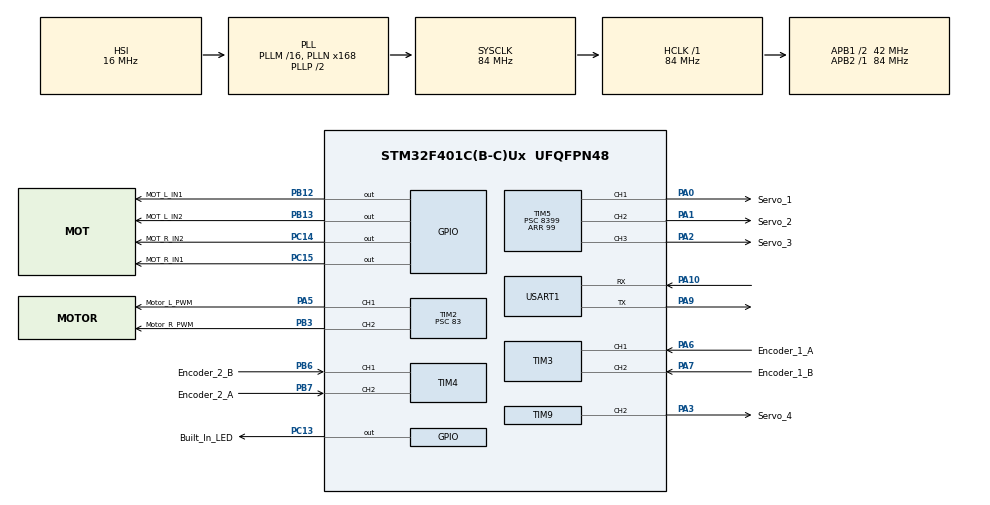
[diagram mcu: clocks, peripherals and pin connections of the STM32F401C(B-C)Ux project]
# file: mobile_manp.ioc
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Mcu.Family=STM32F4
Mcu.Name=STM32F401C(B-C)Ux
Mcu.Package=UFQFPN48
NVIC.PriorityGroup=NVIC_PRIORITYGROUP_4
NVIC.TIM1_UP_TIM10_IRQn=true\:0\:0\:false\:false\:true\:true\:true\:true
NVIC.TIM5_IRQn=true\:0\:0\:false\:false\:true\:true\:true\:true
NVIC.USART1_IRQn=true\:0\:0\:false\:false\:true\:true\:true\:true
PA0-WKUP.GPIO_Label=Servo_1
PA0-WKUP.Signal=S_TIM5_CH1
PA1.GPIO_Label=Servo_2
PA1.Signal=S_TIM5_CH2
PA10.Mode=Asynchronous
PA10.Signal=USART1_RX
PA13.Mode=Serial_Wire
PA13.Signal=SYS_JTMS-SWDIO
PA14.Mode=Serial_Wire
PA14.Signal=SYS_JTCK-SWCLK
PA2.GPIO_Label=Servo_3
PA2.Signal=S_TIM5_CH3
PA3.GPIO_Label=Servo_4
PA3.Signal=S_TIM9_CH2
PA5.GPIO_Label=Motor_L_PWM
PA5.Signal=S_TIM2_CH1_ETR
PA6.GPIO_Label=Encoder_1_A
PA6.Signal=S_TIM3_CH1
PA7.GPIO_Label=Encoder_1_B
PA7.Signal=S_TIM3_CH2
PA9.Mode=Asynchronous
PA9.Signal=USART1_TX
PB12.GPIO_Label=MOT_L_IN1
PB12.Signal=GPIO_Output
PB13.GPIO_Label=MOT_L_IN2
PB13.Signal=GPIO_Output
PB3.GPIO_Label=Motor_R_PWM
PB3.Signal=S_TIM2_CH2
PB6.GPIO_Label=Encoder_2_B
PB6.Signal=S_TIM4_CH1
PB7.GPIO_Label=Encoder_2_A
PB7.Signal=S_TIM4_CH2
PC13-ANTI_TAMP.GPIO_Label=Built_In_LED
PC13-ANTI_TAMP.Signal=GPIO_Output
PC14-OSC32_IN.GPIO_Label=MOT_R_IN2
PC14-OSC32_IN.Signal=GPIO_Output
PC15-OSC32_OUT.GPIO_Label=MOT_R_IN1
PC15-OSC32_OUT.Signal=GPIO_Output
PH0\ -\ OSC_IN.Mode=HSE-External-Oscillator
PH0\ -\ OSC_IN.Signal=RCC_OSC_IN
PH1\ -\ OSC_OUT.Mode=HSE-External-Oscillator
PH1\ -\ OSC_OUT.Signal=RCC_OSC_OUT
ProjectManager.HeapSize=0x200
ProjectManager.StackSize=0x400
ProjectManager.TargetToolchain=STM32CubeIDE
RCC.48MHZClocksFreq_Value=42000000
RCC.AHBFreq_Value=84000000
RCC.APB1CLKDivider=RCC_HCLK_DIV2
RCC.APB1Freq_Value=42000000
RCC.APB1TimFreq_Value=84000000
RCC.APB2Freq_Value=84000000
RCC.APB2TimFreq_Value=84000000
RCC.CortexFreq_Value=84000000
RCC.HCLKFreq_Value=84000000
RCC.HSE_VALUE=16000000
RCC.HSI_VALUE=16000000
RCC.LSE_VALUE=32768
RCC.PLLN=168
RCC.SYSCLKFreq_VALUE=84000000
RCC.SYSCLKSource=RCC_SYSCLKSOURCE_PLLCLK
RCC.VCOOutputFreq_Value=168000000
SH.S_TIM2_CH1_ETR.0=TIM2_CH1,PWM Generation1 CH1
SH.S_TIM2_CH2.0=TIM2_CH2,PWM Generation2 CH2
SH.S_TIM3_CH1.0=TIM3_CH1,Encoder_Interface
SH.S_TIM3_CH2.0=TIM3_CH2,Encoder_Interface
SH.S_TIM4_CH1.0=TIM4_CH1,Encoder_Interface
SH.S_TIM4_CH2.0=TIM4_CH2,Encoder_Interface
SH.S_TIM5_CH1.0=TIM5_CH1,PWM Generation1 CH1
SH.S_TIM5_CH2.0=TIM5_CH2,PWM Generation2 CH2
SH.S_TIM5_CH3.0=TIM5_CH3,PWM Generation3 CH3
SH.S_TIM9_CH2.0=TIM9_CH2,PWM Generation2 CH2
TIM1.Period=999
TIM1.Prescaler=8399
TIM2.Channel-PWM\ Generation1\ CH1=TIM_CHANNEL_1
TIM2.Channel-PWM\ Generation2\ CH2=TIM_CHANNEL_2
TIM2.Period=999
TIM2.Prescaler=83
TIM3.EncoderMode=TIM_ENCODERMODE_TI12
TIM4.EncoderMode=TIM_ENCODERMODE_TI12
TIM5.Channel-Output\ Compare4\ No\ Output=TIM_CHANNEL_4
TIM5.Channel-PWM\ Generation1\ CH1=TIM_CHANNEL_1
TIM5.Channel-PWM\ Generation2\ CH2=TIM_CHANNEL_2
TIM5.Channel-PWM\ Generation3\ CH3=TIM_CHANNEL_3
TIM5.Period=99
TIM5.Prescaler=8399
TIM9.Channel-PWM\ Generation2\ CH2=TIM_CHANNEL_2
USART1.VirtualMode=VM_ASYNC
VP_TIM1_VS_ClockSourceINT.Mode=Internal
VP_TIM2_VS_ClockSourceINT.Mode=Internal
VP_TIM5_VS_ClockSourceINT.Mode=Internal
VP_TIM5_VS_no_output4.Mode=Output Compare4 No Output
board=custom

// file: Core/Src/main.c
/* USER CODE BEGIN Header */
/**
  ******************************************************************************
  * @file           : main.c
  * @brief          : Mobile Robot + 3DOF Arm — Ball Pickup
  * Pi sends: N=searching forward, L=rotate left, R=rotate right, S=stop+grab
  ******************************************************************************
  */
/* USER CODE END Header */

#include "main.h"

/* USER CODE BEGIN Includes */
#include <math.h>
#include <string.h>
#include <stdio.h>
/* USER CODE END Includes */

/* USER CODE BEGIN PTD */

typedef struct {
    float kp;
    float ki;
    float kd;
    float prev_error;
    float integral;
    float output_limit;
} PID_Controller;

typedef struct {
    float theta_1d;
    float theta_2d;
    float theta_3d;
} Angles;

typedef enum {
    ARM_IDLE = 0,
    ARM_SETTLE,
    ARM_GO_HOME,
    ARM_MOVE_TO_BALL,
    ARM_CLOSE_GRIPPER,
    ARM_LIFT_UP,
    ARM_DONE
} ArmState_t;

typedef enum {
    ROBOT_SEARCHING = 0,   /* N — drive forward looking */
    ROBOT_ROTATE_LEFT,     /* L — rotate left to center */
    ROBOT_ROTATE_RIGHT,    /* R — rotate right to center */
    ROBOT_GRABBING,        /* S — stopped, arm working  */
    ROBOT_HOLDING          /* arm done, drive forward holding ball */
} RobotState_t;

/* USER CODE END PTD */

/* USER CODE BEGIN PD */

#define PPR          11880.0f
#define SAMPLE_MS    100.0f
#define FF_GAIN      27.0f

#define SERVO_MIN_PULSE  500
#define SERVO_MAX_PULSE  2500

#define FORWARD_RPM   20.0f
#define ROTATE_RPM    15.0f

/* USER CODE END PD */

/* USER CODE BEGIN PM */

#define servo1_write(a) __HAL_TIM_SET_COMPARE(&htim5, TIM_CHANNEL_1, angle_to_ccr(a))
#define servo2_write(a) __HAL_TIM_SET_COMPARE(&htim5, TIM_CHANNEL_2, angle_to_ccr(a))
#define servo3_write(a) __HAL_TIM_SET_COMPARE(&htim5, TIM_CHANNEL_3, angle_to_ccr(a))
#define servo4_write(a) __HAL_TIM_SET_COMPARE(&htim9, TIM_CHANNEL_2, angle_to_ccr(a))

/* USER CODE END PM */

TIM_HandleTypeDef htim1;
TIM_HandleTypeDef htim2;
TIM_HandleTypeDef htim3;
TIM_HandleTypeDef htim4;
TIM_HandleTypeDef htim5;
TIM_HandleTypeDef htim9;

UART_HandleTypeDef huart1;

/* USER CODE BEGIN PV */

/* UART */
uint8_t  rx_byte;
volatile uint8_t current_command = 'N';

/* Encoder / motor */
volatile float motorR_rpm = 0.0f;
volatile float motorL_rpm = 0.0f;
volatile float target_rpm_right = 0.0f;
volatile float target_rpm_left  = 0.0f;

PID_Controller pid_left;
PID_Controller pid_right;

/* State machines */
volatile RobotState_t robot_state = ROBOT_SEARCHING;
ArmState_t arm_state = ARM_IDLE;
uint32_t   arm_timer = 0;
Angles     arm_angles;

/* USER CODE END PV */

void SystemClock_Config(void);
static void MX_GPIO_Init(void);
static void MX_TIM1_Init(void);
static void MX_TIM2_Init(void);
static void MX_TIM3_Init(void);
static void MX_TIM4_Init(void);
static void MX_TIM5_Init(void);
static void MX_TIM9_Init(void);
static void MX_USART1_UART_Init(void);

/* USER CODE BEGIN 0 */

/* ── Servo helpers ──────────────────────────────────────────────────────── */
static uint32_t angle_to_ccr(float angle)
{
    if (angle < 0.0f)   angle = 0.0f;
    if (angle > 180.0f) angle = 180.0f;
    return (uint32_t)(SERVO_MIN_PULSE +
           (angle / 180.0f) * (SERVO_MAX_PULSE - SERVO_MIN_PULSE));
}

static void TIM5_Reconfigure_For_Servo(void)
{
    HAL_TIM_PWM_Stop(&htim5, TIM_CHANNEL_1);
    HAL_TIM_PWM_Stop(&htim5, TIM_CHANNEL_2);
    HAL_TIM_PWM_Stop(&htim5, TIM_CHANNEL_3);
    __HAL_TIM_SET_PRESCALER(&htim5, 83);
    __HAL_TIM_SET_AUTORELOAD(&htim5, 19999);
    HAL_TIM_GenerateEvent(&htim5, TIM_EVENTSOURCE_UPDATE);
    HAL_TIM_PWM_Start(&htim5, TIM_CHANNEL_1);
    HAL_TIM_PWM_Start(&htim5, TIM_CHANNEL_2);
    HAL_TIM_PWM_Start(&htim5, TIM_CHANNEL_3);
}

static void TIM5_Restore_For_PID(void)
{
    HAL_TIM_PWM_Stop(&htim5, TIM_CHANNEL_1);
    HAL_TIM_PWM_Stop(&htim5, TIM_CHANNEL_2);
    HAL_TIM_PWM_Stop(&htim5, TIM_CHANNEL_3);
    __HAL_TIM_SET_PRESCALER(&htim5, 8399);
    __HAL_TIM_SET_AUTORELOAD(&htim5, 99);
    HAL_TIM_GenerateEvent(&htim5, TIM_EVENTSOURCE_UPDATE);
}

static void TIM9_Reconfigure_For_Servo(void)
{
    HAL_TIM_PWM_Stop(&htim9, TIM_CHANNEL_2);
    __HAL_TIM_SET_PRESCALER(&htim9, 83);
    __HAL_TIM_SET_AUTORELOAD(&htim9, 19999);
    HAL_TIM_GenerateEvent(&htim9, TIM_EVENTSOURCE_UPDATE);
    HAL_TIM_PWM_Start(&htim9, TIM_CHANNEL_2);
}

/* ── PID ────────────────────────────────────────────────────────────────── */
float Compute_PID(PID_Controller *pid, float target, float actual)
{
    float error   = target - actual;
    float p_term  = pid->kp * error;
    float ff_term = target * FF_GAIN;

    pid->integral += error * 0.1f;
    if (pid->integral >  pid->output_limit) pid->integral =  pid->output_limit;
    if (pid->integral < -pid->output_limit) pid->integral = -pid->output_limit;
    float i_term = pid->ki * pid->integral;

    float d_term = pid->kd * ((error - pid->prev_error) / 0.1f);
    pid->prev_error = error;

    float output = ff_term + p_term + i_term + d_term;
    if (output >  pid->output_limit) output =  pid->output_limit;
    if (output < -pid->output_limit) output = -pid->output_limit;
    return output;
}

/* ── Motor drive ────────────────────────────────────────────────────────── */
void Set_Motor_Right(float pwm_val)
{
    if (pwm_val >= 0.0f) {
        HAL_GPIO_WritePin(MOT_R_IN1_GPIO_Port, MOT_R_IN1_Pin, GPIO_PIN_RESET);
        HAL_GPIO_WritePin(MOT_R_IN2_GPIO_Port, MOT_R_IN2_Pin, GPIO_PIN_SET);
    } else {
        HAL_GPIO_WritePin(MOT_R_IN1_GPIO_Port, MOT_R_IN1_Pin, GPIO_PIN_SET);
        HAL_GPIO_WritePin(MOT_R_IN2_GPIO_Port, MOT_R_IN2_Pin, GPIO_PIN_RESET);
        pwm_val = -pwm_val;
    }
    if (pwm_val > 999.0f) pwm_val = 999.0f;
    __HAL_TIM_SET_COMPARE(&htim2, TIM_CHANNEL_1, (uint32_t)pwm_val);
}

void Set_Motor_Left(float pwm_val)
{
    if (pwm_val >= 0.0f) {
        HAL_GPIO_WritePin(MOT_L_IN1_GPIO_Port, MOT_L_IN1_Pin, GPIO_PIN_SET);
        HAL_GPIO_WritePin(MOT_L_IN2_GPIO_Port, MOT_L_IN2_Pin, GPIO_PIN_RESET);
    } else {
        HAL_GPIO_WritePin(MOT_L_IN1_GPIO_Port, MOT_L_IN1_Pin, GPIO_PIN_RESET);
        HAL_GPIO_WritePin(MOT_L_IN2_GPIO_Port, MOT_L_IN2_Pin, GPIO_PIN_SET);
        pwm_val = -pwm_val;
    }
    if (pwm_val > 999.0f) pwm_val = 999.0f;
    __HAL_TIM_SET_COMPARE(&htim2, TIM_CHANNEL_2, (uint32_t)pwm_val);
}

/* ── Inverse kinematics ─────────────────────────────────────────────────── */
static float constrain_f(float val, float mn, float mx)
{
    if (val < mn) return mn;
    if (val > mx) return mx;
    return val;
}

Angles inverse_kinematics(float xd, float yd, float zd)
{
    const float L1 = 4.349f;
    const float L2 = 16.3104f;
    const float L3 = 20.0f;
    Angles result;

    result.theta_1d = (atan2f(yd, xd) * 180.0f / (float)M_PI) - 25.0f;
    result.theta_1d = constrain_f(result.theta_1d, 0.0f, 180.0f);

    float r = sqrtf(xd * xd + yd * yd);
    float k = sqrtf(r * r + powf((zd - L1), 2.0f));
    float D = (L2 * L2 + L3 * L3 - k * k) / (2.0f * L2 * L3);
    D = constrain_f(D, -1.0f, 1.0f);

    float theta   = acosf(D);
    float theta_3 = 180.0f - (theta * 180.0f / (float)M_PI);
    result.theta_3d = theta_3 + 42.0f;
    if (result.theta_3d > 180.0f)
        result.theta_3d = -result.theta_3d + 360.0f;
    else if (result.theta_3d < 0.0f && result.theta_3d > -180.0f)
        result.theta_3d = -result.theta_3d;

    float beta  = atan2f((zd - L1), r);
    float alpha = atan2f((L3 * sinf(theta)), (k + L3 * cosf(theta)));
    result.theta_2d = (beta + alpha) * 180.0f / (float)M_PI;
    if (result.theta_2d > 180.0f)
        result.theta_2d = -result.theta_2d + 360.0f;
    else if (result.theta_2d < 0.0f && result.theta_2d > -180.0f)
        result.theta_2d = -result.theta_2d;

    return result;
}

/* ── UART debug echo — STM32 echoes received byte back to Pi ────────────── */
static void uart_debug(const char *msg)
{
    HAL_UART_Transmit(&huart1, (uint8_t *)msg, strlen(msg), HAL_MAX_DELAY);
}

/* USER CODE END 0 */

/* ══════════════════════════════════════════════════════════════════════════
 * MAIN
 * ══════════════════════════════════════════════════════════════════════════ */
int main(void)
{
    /* USER CODE BEGIN 1 */
    pid_left.kp  = 5.0f;  pid_left.ki  = 0.5f;  pid_left.kd  = 0.0f;
    pid_left.prev_error = 0.0f; pid_left.integral = 0.0f;
    pid_left.output_limit = 999.0f;

    pid_right.kp = 5.0f;  pid_right.ki = 0.5f;  pid_right.kd = 0.0f;
    pid_right.prev_error = 0.0f; pid_right.integral = 0.0f;
    pid_right.output_limit = 999.0f;
    /* USER CODE END 1 */

    HAL_Init();
    SystemClock_Config();

    MX_GPIO_Init();
    MX_TIM1_Init();
    MX_TIM2_Init();
    MX_TIM3_Init();
    MX_TIM4_Init();
    MX_TIM5_Init();
    MX_TIM9_Init();
    MX_USART1_UART_Init();

    /* USER CODE BEGIN 2 */

    /* Start motor PWM */
    HAL_TIM_PWM_Start(&htim2, TIM_CHANNEL_1);
    HAL_TIM_PWM_Start(&htim2, TIM_CHANNEL_2);

    /* Start encoders */
    HAL_TIM_Encoder_Start(&htim3, TIM_CHANNEL_ALL);
    HAL_TIM_Encoder_Start(&htim4, TIM_CHANNEL_ALL);

    /* Start PID timer interrupt */
    __HAL_TIM_CLEAR_IT(&htim1, TIM_IT_UPDATE);
    HAL_TIM_Base_Start_IT(&htim1);

    /* Start UART receive interrupt */
    HAL_NVIC_SetPriority(USART1_IRQn, 0, 0);
    HAL_NVIC_EnableIRQ(USART1_IRQn);
    HAL_UART_Receive_IT(&huart1, &rx_byte, 1);

    /* Arm boot — go to home position */
    TIM5_Reconfigure_For_Servo();
    TIM9_Reconfigure_For_Servo();
    servo4_write(180);   /* gripper open */
    HAL_Delay(300);
    servo1_write(0);
    servo2_write(90);
    servo3_write(100);
    HAL_Delay(2000);
    TIM5_Restore_For_PID();

    uart_debug("STM32 READY\r\n");

    /* USER CODE END 2 */

    while (1)
    {
        /* USER CODE BEGIN 3 */

        /* ── STEP 1: translate Pi command → robot state ─────────────────── */
        switch (current_command)
        {
            case 'N': case 'n':
                if (robot_state != ROBOT_GRABBING && robot_state != ROBOT_HOLDING)
                    robot_state = ROBOT_SEARCHING;
                break;

            case 'L': case 'l':
                if (robot_state != ROBOT_GRABBING && robot_state != ROBOT_HOLDING)
                    robot_state = ROBOT_ROTATE_LEFT;
                break;

            case 'R': case 'r':
                if (robot_state != ROBOT_GRABBING && robot_state != ROBOT_HOLDING)
                    robot_state = ROBOT_ROTATE_RIGHT;
                break;

            case 'S': case 's':
                if (robot_state != ROBOT_GRABBING && robot_state != ROBOT_HOLDING)
                {
                    robot_state = ROBOT_GRABBING;
                    arm_state   = ARM_SETTLE;
                    arm_timer   = HAL_GetTick();
                    uart_debug("CMD:GRAB\r\n");
                }
                break;

            default:
                break;
        }

        /* ── STEP 2: set motor targets based on robot state ─────────────── */
        switch (robot_state)
        {
            case ROBOT_SEARCHING:
                target_rpm_right = FORWARD_RPM;
                target_rpm_left  = FORWARD_RPM;
                break;

            case ROBOT_ROTATE_LEFT:
                target_rpm_right =  ROTATE_RPM;
                target_rpm_left  = -ROTATE_RPM;
                break;

            case ROBOT_ROTATE_RIGHT:
                target_rpm_right = -ROTATE_RPM;
                target_rpm_left  =  ROTATE_RPM;
                break;

            case ROBOT_GRABBING:
                /* motors fully stopped while arm works */
                target_rpm_right = 0.0f;
                target_rpm_left  = 0.0f;
                break;

            case ROBOT_HOLDING:
                /* ball grabbed — drive forward holding it */
                target_rpm_right = FORWARD_RPM;
                target_rpm_left  = FORWARD_RPM;
                break;
        }

        /* ── STEP 3: arm state machine (non-blocking) ───────────────────── */
        switch (arm_state)
        {
            case ARM_IDLE:
                break;

            case ARM_SETTLE:
                /* wait 500ms for motors to fully stop */
                if (HAL_GetTick() - arm_timer >= 500)
                {
                    TIM5_Reconfigure_For_Servo();
                    TIM9_Reconfigure_For_Servo();
                    arm_angles = inverse_kinematics(0.0f, 23.0f, 7.2f);
                    servo4_write(180);  /* make sure gripper is open */
                    uart_debug("ARM:SETTLE\r\n");
                    arm_state = ARM_GO_HOME;
                    arm_timer = HAL_GetTick();
                }
                break;

            case ARM_GO_HOME:
                /* go to home position first */
                if (HAL_GetTick() - arm_timer >= 500)
                {
                    servo1_write(0);
                    servo2_write(90);
                    servo3_write(100);
                    uart_debug("ARM:HOME\r\n");
                    arm_state = ARM_MOVE_TO_BALL;
                    arm_timer = HAL_GetTick();
                }
                break;

            case ARM_MOVE_TO_BALL:
                /* move arm to IK target position */
                if (HAL_GetTick() - arm_timer >= 2000)
                {
                    servo1_write(arm_angles.theta_1d);
                    servo2_write(arm_angles.theta_2d);
                    servo3_write(arm_angles.theta_3d);
                    uart_debug("ARM:MOVING\r\n");
                    arm_state = ARM_CLOSE_GRIPPER;
                    arm_timer = HAL_GetTick();
                }
                break;

            case ARM_CLOSE_GRIPPER:
                /* close gripper to grab ball */
                if (HAL_GetTick() - arm_timer >= 2000)
                {
                    servo4_write(0);
                    uart_debug("ARM:GRIP\r\n");
                    arm_state = ARM_LIFT_UP;
                    arm_timer = HAL_GetTick();
                }
                break;

            case ARM_LIFT_UP:
                /* lift arm back to carrying position */
                if (HAL_GetTick() - arm_timer >= 1500)
                {
                    servo1_write(0);
                    servo2_write(90);
                    servo3_write(100);
                    uart_debug("ARM:LIFTED\r\n");
                    arm_state = ARM_DONE;
                    arm_timer = HAL_GetTick();
                }
                break;

            case ARM_DONE:
                /* restore TIM5 for PID, robot continues moving */
                if (HAL_GetTick() - arm_timer >= 1000)
                {
                    TIM5_Restore_For_PID();
                    robot_state = ROBOT_HOLDING;
                    arm_state   = ARM_IDLE;
                    uart_debug("ARM:DONE\r\n");
                }
                break;
        }

        HAL_Delay(10);
    }
    /* USER CODE END 3 */
}

/* ══════════════════════════════════════════════════════════════════════════
 * TIMER INTERRUPT — runs every 100ms for PID
 * ══════════════════════════════════════════════════════════════════════════ */
void HAL_TIM_PeriodElapsedCallback(TIM_HandleTypeDef *htim)
{
    if (htim->Instance == TIM1)
    {
        int16_t raw_enc_r = (int16_t)__HAL_TIM_GET_COUNTER(&htim3);
        int16_t raw_enc_l = (int16_t)__HAL_TIM_GET_COUNTER(&htim4);
        __HAL_TIM_SET_COUNTER(&htim3, 0);
        __HAL_TIM_SET_COUNTER(&htim4, 0);

        motorR_rpm = ((float)raw_enc_r / PPR) * (6000.0f / SAMPLE_MS);
        motorL_rpm = ((float)raw_enc_l / PPR) * (6000.0f / SAMPLE_MS);

        float pwm_r = Compute_PID(&pid_right, target_rpm_right, motorR_rpm);
        float pwm_l = Compute_PID(&pid_left,  target_rpm_left,  motorL_rpm);

        Set_Motor_Right(pwm_r);
        Set_Motor_Left(pwm_l);
    }
}

/* ══════════════════════════════════════════════════════════════════════════
 * UART INTERRUPT — receives one byte at a time from Pi
 * ══════════════════════════════════════════════════════════════════════════ */
void HAL_UART_RxCpltCallback(UART_HandleTypeDef *huart)
{
    if (huart->Instance == USART1)
    {
        /* ignore whitespace/newlines */
        if (rx_byte != '\n' && rx_byte != '\r' && rx_byte != ' ')
        {
            current_command = rx_byte;

            /* echo back to Pi so you can confirm reception via cat /dev/serial0 */
            HAL_UART_Transmit(&huart1, &rx_byte, 1, 100);
        }
        huart->RxState = HAL_UART_STATE_READY;
        huart->gState  = HAL_UART_STATE_READY;
        HAL_UART_Receive_IT(&huart1, &rx_byte, 1);
    }
}

void HAL_UART_ErrorCallback(UART_HandleTypeDef *huart)
{
    if (huart->Instance == USART1)
    {
        huart->RxState = HAL_UART_STATE_READY;
        huart->gState  = HAL_UART_STATE_READY;
        HAL_UART_Receive_IT(&huart1, &rx_byte, 1);
    }
}

/* ══════════════════════════════════════════════════════════════════════════
 * PERIPHERAL INIT FUNCTIONS — copied exactly from your working CubeMX file
 * ══════════════════════════════════════════════════════════════════════════ */
void SystemClock_Config(void)
{
    RCC_OscInitTypeDef RCC_OscInitStruct = {0};
    RCC_ClkInitTypeDef RCC_ClkInitStruct = {0};

    __HAL_RCC_PWR_CLK_ENABLE();
    __HAL_PWR_VOLTAGESCALING_CONFIG(PWR_REGULATOR_VOLTAGE_SCALE2);

    RCC_OscInitStruct.OscillatorType      = RCC_OSCILLATORTYPE_HSI;
    RCC_OscInitStruct.HSIState            = RCC_HSI_ON;
    RCC_OscInitStruct.HSICalibrationValue = RCC_HSICALIBRATION_DEFAULT;
    RCC_OscInitStruct.PLL.PLLState        = RCC_PLL_ON;
    RCC_OscInitStruct.PLL.PLLSource       = RCC_PLLSOURCE_HSI;
    RCC_OscInitStruct.PLL.PLLM            = 16;
    RCC_OscInitStruct.PLL.PLLN            = 168;
    RCC_OscInitStruct.PLL.PLLP            = RCC_PLLP_DIV2;
    RCC_OscInitStruct.PLL.PLLQ            = 4;
    if (HAL_RCC_OscConfig(&RCC_OscInitStruct) != HAL_OK) Error_Handler();

    RCC_ClkInitStruct.ClockType      = RCC_CLOCKTYPE_HCLK | RCC_CLOCKTYPE_SYSCLK
                                     | RCC_CLOCKTYPE_PCLK1 | RCC_CLOCKTYPE_PCLK2;
    RCC_ClkInitStruct.SYSCLKSource   = RCC_SYSCLKSOURCE_PLLCLK;
    RCC_ClkInitStruct.AHBCLKDivider  = RCC_SYSCLK_DIV1;
    RCC_ClkInitStruct.APB1CLKDivider = RCC_HCLK_DIV2;
    RCC_ClkInitStruct.APB2CLKDivider = RCC_HCLK_DIV1;
    if (HAL_RCC_ClockConfig(&RCC_ClkInitStruct, FLASH_LATENCY_2) != HAL_OK) Error_Handler();
}

static void MX_TIM1_Init(void)
{
    TIM_ClockConfigTypeDef  sClockSourceConfig = {0};
    TIM_MasterConfigTypeDef sMasterConfig      = {0};

    htim1.Instance               = TIM1;
    htim1.Init.Prescaler         = 8399;
    htim1.Init.CounterMode       = TIM_COUNTERMODE_UP;
    htim1.Init.Period            = 999;
    htim1.Init.ClockDivision     = TIM_CLOCKDIVISION_DIV1;
    htim1.Init.RepetitionCounter = 0;
    htim1.Init.AutoReloadPreload = TIM_AUTORELOAD_PRELOAD_DISABLE;
    if (HAL_TIM_Base_Init(&htim1) != HAL_OK) Error_Handler();

    sClockSourceConfig.ClockSource = TIM_CLOCKSOURCE_INTERNAL;
    if (HAL_TIM_ConfigClockSource(&htim1, &sClockSourceConfig) != HAL_OK) Error_Handler();

    sMasterConfig.MasterOutputTrigger = TIM_TRGO_RESET;
    sMasterConfig.MasterSlaveMode     = TIM_MASTERSLAVEMODE_DISABLE;
    if (HAL_TIMEx_MasterConfigSynchronization(&htim1, &sMasterConfig) != HAL_OK) Error_Handler();
}

static void MX_TIM2_Init(void)
{
    TIM_ClockConfigTypeDef  sClockSourceConfig = {0};
    TIM_MasterConfigTypeDef sMasterConfig      = {0};
    TIM_OC_InitTypeDef      sConfigOC          = {0};

    htim2.Instance               = TIM2;
    htim2.Init.Prescaler         = 83;
    htim2.Init.CounterMode       = TIM_COUNTERMODE_UP;
    htim2.Init.Period            = 999;
    htim2.Init.ClockDivision     = TIM_CLOCKDIVISION_DIV1;
    htim2.Init.AutoReloadPreload = TIM_AUTORELOAD_PRELOAD_DISABLE;
    if (HAL_TIM_Base_Init(&htim2) != HAL_OK) Error_Handler();

    sClockSourceConfig.ClockSource = TIM_CLOCKSOURCE_INTERNAL;
    if (HAL_TIM_ConfigClockSource(&htim2, &sClockSourceConfig) != HAL_OK) Error_Handler();
    if (HAL_TIM_PWM_Init(&htim2) != HAL_OK) Error_Handler();

    sMasterConfig.MasterOutputTrigger = TIM_TRGO_RESET;
    sMasterConfig.MasterSlaveMode     = TIM_MASTERSLAVEMODE_DISABLE;
    if (HAL_TIMEx_MasterConfigSynchronization(&htim2, &sMasterConfig) != HAL_OK) Error_Handler();

    sConfigOC.OCMode     = TIM_OCMODE_PWM1;
    sConfigOC.Pulse      = 0;
    sConfigOC.OCPolarity = TIM_OCPOLARITY_HIGH;
    sConfigOC.OCFastMode = TIM_OCFAST_DISABLE;
    if (HAL_TIM_PWM_ConfigChannel(&htim2, &sConfigOC, TIM_CHANNEL_1) != HAL_OK) Error_Handler();
    if (HAL_TIM_PWM_ConfigChannel(&htim2, &sConfigOC, TIM_CHANNEL_2) != HAL_OK) Error_Handler();
    HAL_TIM_MspPostInit(&htim2);
}

static void MX_TIM3_Init(void)
{
    TIM_Encoder_InitTypeDef sConfig      = {0};
    TIM_MasterConfigTypeDef sMasterConfig = {0};

    htim3.Instance               = TIM3;
    htim3.Init.Prescaler         = 0;
    htim3.Init.CounterMode       = TIM_COUNTERMODE_UP;
    htim3.Init.Period            = 65535;
    htim3.Init.ClockDivision     = TIM_CLOCKDIVISION_DIV1;
    htim3.Init.AutoReloadPreload = TIM_AUTORELOAD_PRELOAD_DISABLE;

    sConfig.EncoderMode  = TIM_ENCODERMODE_TI12;
    sConfig.IC1Polarity  = TIM_ICPOLARITY_RISING;
    sConfig.IC1Selection = TIM_ICSELECTION_DIRECTTI;
    sConfig.IC1Prescaler = TIM_ICPSC_DIV1;
    sConfig.IC1Filter    = 0;
    sConfig.IC2Polarity  = TIM_ICPOLARITY_RISING;
    sConfig.IC2Selection = TIM_ICSELECTION_DIRECTTI;
    sConfig.IC2Prescaler = TIM_ICPSC_DIV1;
    sConfig.IC2Filter    = 0;
    if (HAL_TIM_Encoder_Init(&htim3, &sConfig) != HAL_OK) Error_Handler();

    sMasterConfig.MasterOutputTrigger = TIM_TRGO_RESET;
    sMasterConfig.MasterSlaveMode     = TIM_MASTERSLAVEMODE_DISABLE;
    if (HAL_TIMEx_MasterConfigSynchronization(&htim3, &sMasterConfig) != HAL_OK) Error_Handler();
}

static void MX_TIM4_Init(void)
{
    TIM_Encoder_InitTypeDef sConfig      = {0};
    TIM_MasterConfigTypeDef sMasterConfig = {0};

    htim4.Instance               = TIM4;
    htim4.Init.Prescaler         = 0;
    htim4.Init.CounterMode       = TIM_COUNTERMODE_UP;
    htim4.Init.Period            = 65535;
    htim4.Init.ClockDivision     = TIM_CLOCKDIVISION_DIV1;
    htim4.Init.AutoReloadPreload = TIM_AUTORELOAD_PRELOAD_DISABLE;

    sConfig.EncoderMode  = TIM_ENCODERMODE_TI12;
    sConfig.IC1Polarity  = TIM_ICPOLARITY_RISING;
    sConfig.IC1Selection = TIM_ICSELECTION_DIRECTTI;
    sConfig.IC1Prescaler = TIM_ICPSC_DIV1;
    sConfig.IC1Filter    = 0;
    sConfig.IC2Polarity  = TIM_ICPOLARITY_RISING;
    sConfig.IC2Selection = TIM_ICSELECTION_DIRECTTI;
    sConfig.IC2Prescaler = TIM_ICPSC_DIV1;
    sConfig.IC2Filter    = 0;
    if (HAL_TIM_Encoder_Init(&htim4, &sConfig) != HAL_OK) Error_Handler();

    sMasterConfig.MasterOutputTrigger = TIM_TRGO_RESET;
    sMasterConfig.MasterSlaveMode     = TIM_MASTERSLAVEMODE_DISABLE;
    if (HAL_TIMEx_MasterConfigSynchronization(&htim4, &sMasterConfig) != HAL_OK) Error_Handler();
}

static void MX_TIM5_Init(void)
{
    TIM_ClockConfigTypeDef  sClockSourceConfig = {0};
    TIM_MasterConfigTypeDef sMasterConfig      = {0};
    TIM_OC_InitTypeDef      sConfigOC          = {0};

    htim5.Instance               = TIM5;
    htim5.Init.Prescaler         = 8399;
    htim5.Init.CounterMode       = TIM_COUNTERMODE_UP;
    htim5.Init.Period            = 99;
    htim5.Init.ClockDivision     = TIM_CLOCKDIVISION_DIV1;
    htim5.Init.AutoReloadPreload = TIM_AUTORELOAD_PRELOAD_DISABLE;
    if (HAL_TIM_Base_Init(&htim5) != HAL_OK) Error_Handler();

    sClockSourceConfig.ClockSource = TIM_CLOCKSOURCE_INTERNAL;
    if (HAL_TIM_ConfigClockSource(&htim5, &sClockSourceConfig) != HAL_OK) Error_Handler();
    if (HAL_TIM_PWM_Init(&htim5) != HAL_OK) Error_Handler();
    if (HAL_TIM_OC_Init(&htim5) != HAL_OK) Error_Handler();

    sMasterConfig.MasterOutputTrigger = TIM_TRGO_RESET;
    sMasterConfig.MasterSlaveMode     = TIM_MASTERSLAVEMODE_DISABLE;
    if (HAL_TIMEx_MasterConfigSynchronization(&htim5, &sMasterConfig) != HAL_OK) Error_Handler();

    sConfigOC.OCMode     = TIM_OCMODE_PWM1;
    sConfigOC.Pulse      = 0;
    sConfigOC.OCPolarity = TIM_OCPOLARITY_HIGH;
    sConfigOC.OCFastMode = TIM_OCFAST_DISABLE;
    if (HAL_TIM_PWM_ConfigChannel(&htim5, &sConfigOC, TIM_CHANNEL_1) != HAL_OK) Error_Handler();
    if (HAL_TIM_PWM_ConfigChannel(&htim5, &sConfigOC, TIM_CHANNEL_2) != HAL_OK) Error_Handler();
    if (HAL_TIM_PWM_ConfigChannel(&htim5, &sConfigOC, TIM_CHANNEL_3) != HAL_OK) Error_Handler();

    sConfigOC.OCMode = TIM_OCMODE_TIMING;
    if (HAL_TIM_OC_ConfigChannel(&htim5, &sConfigOC, TIM_CHANNEL_4) != HAL_OK) Error_Handler();

    HAL_TIM_MspPostInit(&htim5);
}

static void MX_TIM9_Init(void)
{
    TIM_OC_InitTypeDef sConfigOC = {0};

    htim9.Instance               = TIM9;
    htim9.Init.Prescaler         = 0;
    htim9.Init.CounterMode       = TIM_COUNTERMODE_UP;
    htim9.Init.Period            = 65535;
    htim9.Init.ClockDivision     = TIM_CLOCKDIVISION_DIV1;
    htim9.Init.AutoReloadPreload = TIM_AUTORELOAD_PRELOAD_DISABLE;
    if (HAL_TIM_PWM_Init(&htim9) != HAL_OK) Error_Handler();

    sConfigOC.OCMode     = TIM_OCMODE_PWM1;
    sConfigOC.Pulse      = 0;
    sConfigOC.OCPolarity = TIM_OCPOLARITY_HIGH;
    sConfigOC.OCFastMode = TIM_OCFAST_DISABLE;
    if (HAL_TIM_PWM_ConfigChannel(&htim9, &sConfigOC, TIM_CHANNEL_2) != HAL_OK) Error_Handler();

    HAL_TIM_MspPostInit(&htim9);
}

static void MX_USART1_UART_Init(void)
{
    huart1.Instance          = USART1;
    huart1.Init.BaudRate     = 115200;
    huart1.Init.WordLength   = UART_WORDLENGTH_8B;
    huart1.Init.StopBits     = UART_STOPBITS_1;
    huart1.Init.Parity       = UART_PARITY_NONE;
    huart1.Init.Mode         = UART_MODE_TX_RX;
    huart1.Init.HwFlowCtl    = UART_HWCONTROL_NONE;
    huart1.Init.OverSampling = UART_OVERSAMPLING_16;
    if (HAL_UART_Init(&huart1) != HAL_OK) Error_Handler();
}

static void MX_GPIO_Init(void)
{
    GPIO_InitTypeDef GPIO_InitStruct = {0};

    __HAL_RCC_GPIOC_CLK_ENABLE();
    __HAL_RCC_GPIOH_CLK_ENABLE();
    __HAL_RCC_GPIOA_CLK_ENABLE();
    __HAL_RCC_GPIOB_CLK_ENABLE();

    HAL_GPIO_WritePin(GPIOC, Built_In_LED_Pin | MOT_R_IN2_Pin | MOT_R_IN1_Pin, GPIO_PIN_RESET);
    HAL_GPIO_WritePin(GPIOB, MOT_L_IN1_Pin | MOT_L_IN2_Pin, GPIO_PIN_RESET);

    GPIO_InitStruct.Pin   = Built_In_LED_Pin | MOT_R_IN2_Pin | MOT_R_IN1_Pin;
    GPIO_InitStruct.Mode  = GPIO_MODE_OUTPUT_PP;
    GPIO_InitStruct.Pull  = GPIO_NOPULL;
    GPIO_InitStruct.Speed = GPIO_SPEED_FREQ_LOW;
    HAL_GPIO_Init(GPIOC, &GPIO_InitStruct);

    GPIO_InitStruct.Pin   = MOT_L_IN1_Pin | MOT_L_IN2_Pin;
    GPIO_InitStruct.Mode  = GPIO_MODE_OUTPUT_PP;
    GPIO_InitStruct.Pull  = GPIO_NOPULL;
    GPIO_InitStruct.Speed = GPIO_SPEED_FREQ_LOW;
    HAL_GPIO_Init(GPIOB, &GPIO_InitStruct);
}

void Error_Handler(void)
{
    __disable_irq();
    while (1) {}
}
